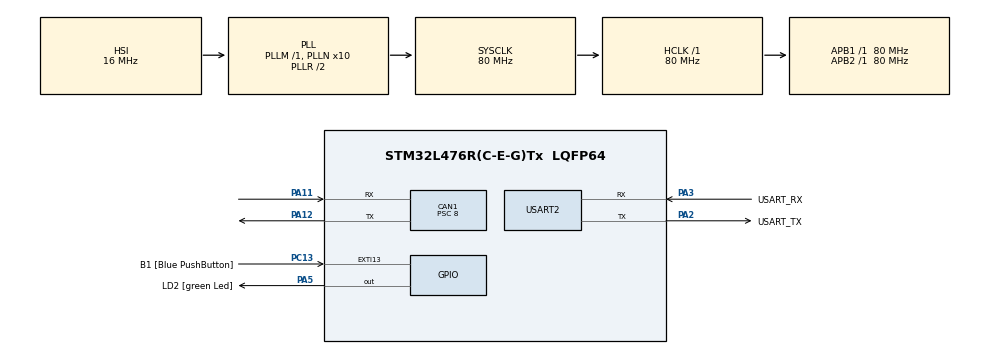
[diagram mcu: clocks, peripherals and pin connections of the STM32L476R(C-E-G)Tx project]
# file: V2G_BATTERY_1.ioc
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CAN1.BS1=CAN_BS1_10TQ
CAN1.CalculateBaudRate=833333
CAN1.CalculateTimeBit=1200
CAN1.CalculateTimeQuantum=100.0
CAN1.Prescaler=8
Mcu.Family=STM32L4
Mcu.Name=STM32L476R(C-E-G)Tx
Mcu.Package=LQFP64
NVIC.CAN1_RX0_IRQn=true\:0\:0\:false\:false\:true\:true\:true\:true
NVIC.CAN1_RX1_IRQn=true\:0\:0\:false\:false\:true\:true\:true\:true
NVIC.CAN1_SCE_IRQn=true\:0\:0\:false\:false\:true\:true\:true\:true
NVIC.CAN1_TX_IRQn=true\:0\:0\:false\:false\:true\:true\:true\:true
NVIC.PriorityGroup=NVIC_PRIORITYGROUP_4
NVIC.USART2_IRQn=true\:0\:0\:false\:false\:true\:true\:true\:true
PA11.Mode=CAN_Activate
PA11.Signal=CAN1_RX
PA12.Mode=CAN_Activate
PA12.Signal=CAN1_TX
PA13\ (JTMS-SWDIO).GPIO_Label=TMS
PA13\ (JTMS-SWDIO).Mode=Serial_Wire
PA13\ (JTMS-SWDIO).Signal=SYS_JTMS-SWDIO
PA14\ (JTCK-SWCLK).GPIO_Label=TCK
PA14\ (JTCK-SWCLK).Mode=Serial_Wire
PA14\ (JTCK-SWCLK).Signal=SYS_JTCK-SWCLK
PA2.GPIO_Label=USART_TX
PA2.GPIO_Mode=GPIO_MODE_AF_PP
PA2.GPIO_PuPd=GPIO_NOPULL
PA2.GPIO_Speed=GPIO_SPEED_FREQ_VERY_HIGH
PA2.Mode=Asynchronous
PA2.Signal=USART2_TX
PA3.GPIO_Label=USART_RX
PA3.GPIO_Mode=GPIO_MODE_AF_PP
PA3.GPIO_PuPd=GPIO_NOPULL
PA3.GPIO_Speed=GPIO_SPEED_FREQ_VERY_HIGH
PA3.Mode=Asynchronous
PA3.Signal=USART2_RX
PA5.GPIO_Label=LD2 [green Led]
PA5.GPIO_ModeDefaultOutputPP=GPIO_MODE_OUTPUT_PP
PA5.GPIO_PuPd=GPIO_NOPULL
PA5.GPIO_Speed=GPIO_SPEED_FREQ_LOW
PA5.Signal=GPIO_Output
PB3\ (JTDO-TRACESWO).GPIO_Label=SWO
PB3\ (JTDO-TRACESWO).Signal=SYS_JTDO-SWO
PC13.GPIO_Label=B1 [Blue PushButton]
PC13.GPIO_ModeDefaultEXTI=GPIO_MODE_IT_FALLING
PC13.GPIO_PuPd=GPIO_NOPULL
PC13.Signal=GPXTI13
PC14-OSC32_IN\ (PC14).Mode=LSE-External-Oscillator
PC14-OSC32_IN\ (PC14).Signal=RCC_OSC32_IN
PC15-OSC32_OUT\ (PC15).Mode=LSE-External-Oscillator
PC15-OSC32_OUT\ (PC15).Signal=RCC_OSC32_OUT
PH0-OSC_IN\ (PH0).Signal=RCC_OSC_IN
PH1-OSC_OUT\ (PH1).Signal=RCC_OSC_OUT
ProjectManager.HeapSize=0x200
ProjectManager.StackSize=0x400
ProjectManager.TargetToolchain=STM32CubeIDE
RCC.ADCFreq_Value=64000000
RCC.AHBFreq_Value=80000000
RCC.APB1Freq_Value=80000000
RCC.APB1TimFreq_Value=80000000
RCC.APB2Freq_Value=80000000
RCC.APB2TimFreq_Value=80000000
RCC.CortexFreq_Value=80000000
RCC.HCLKFreq_Value=80000000
RCC.HSE_VALUE=8000000
RCC.HSI_VALUE=16000000
RCC.MSI_VALUE=4000000
RCC.PLLN=10
RCC.PLLSourceVirtual=RCC_PLLSOURCE_HSI
RCC.PREFETCH_ENABLE=1
RCC.SYSCLKFreq_VALUE=80000000
RCC.SYSCLKSource=RCC_SYSCLKSOURCE_PLLCLK
RCC.USBFreq_Value=64000000
RCC.VCOOutputFreq_Value=160000000
USART2.VirtualMode-Asynchronous=VM_ASYNC
board=NUCLEO-L476RG

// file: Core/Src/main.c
/* USER CODE BEGIN Header */
/**
 ******************************************************************************
 * @file    main.c
 * @brief   Battery MC — CHAdeMO 2.0 V2G
 *          Pont UART (battery sim) ↔ CAN (station MC)
 *
 * Phase 0 : rx UART MSG100 → TX CAN 0x100
 *           rx CAN  0x108  → TX UART MSG108
 *           rx UART MSG101 → TX CAN 0x101
 *           rx CAN  0x109  → TX UART MSG109
 *
 * Phase 1 : rx UART MSG200 → TX CAN 0x200
 *           rx CAN  0x208  → TX UART MSG208
 *
 * Phase 2 : rx UART MSG201 → TX CAN 0x201
 *           rx CAN  0x209  → TX UART MSG209
 *
 * Phase 3 (boucle 100ms) :
 *           rx UART MSG102 → TX CAN 0x102
 *           rx UART MSG200 → TX CAN 0x200
 *           rx CAN  0x109  → TX UART MSG109  (non-bloquant)
 *           rx CAN  0x208  → TX UART MSG208  (non-bloquant)
 *
 * Phase 4 : arrêt propre → TX UART STATE:IDLE → reboucle while(1)
 ******************************************************************************
 */
/* USER CODE END Header */

#include "main.h"
#include "can.h"
#include "usart.h"
#include "gpio.h"
#include <string.h>
#include <stdio.h>
#include <stdlib.h>

/* USER CODE BEGIN PV */
uint16_t battery_voltage_min        = 250;
uint16_t battery_voltage_max        = 400;
uint16_t min_charge_current         = 0;
uint8_t  soc                        = 80;
uint8_t  total_capacity_kwh         = 0;
uint16_t target_charge_voltage      = 400;
uint8_t  max_charge_current         = 0;
uint8_t  max_discharge_current      = 0;
uint16_t min_discharge_voltage      = 300;
uint8_t  min_soc_for_discharging    = 20;
uint8_t  max_soc_for_charging       = 90;
uint8_t  sequence_control_number    = 0x01;
uint8_t  vehicle_charging_enabled   = 1;
uint8_t  normal_stop_request        = 0;
uint8_t  vehicle_status             = 1;
uint8_t  vehicle_shift_position     = 0;
uint8_t  charging_system_error      = 0;
uint8_t  battery_overvoltage        = 0;
uint8_t  battery_undervoltage       = 0;
uint8_t  battery_current_dev_error  = 0;
uint8_t  high_battery_temperature   = 0;
uint8_t  battery_voltage_dev_error  = 0;

uint16_t evse_available_voltage    = 0;
uint8_t  evse_available_current    = 0;
uint16_t evse_threshold_voltage    = 0;
uint8_t  evse_welding_detection    = 0;
uint8_t  evse_discharge_compatible = 0;
uint8_t  evse_stop_control         = 1;
uint8_t  evse_system_error         = 0;
uint16_t evse_present_voltage      = 0;
uint8_t  evse_present_current      = 0;
uint8_t  evse_present_discharge_i  = 0;
uint16_t evse_input_voltage        = 0;
uint8_t  evse_input_current        = 0;
uint16_t evse_lower_threshold_v    = 0;
uint8_t  evse_sequence_number      = 0;

volatile uint8_t flag_msg_108 = 0;
volatile uint8_t flag_msg_109 = 0;
volatile uint8_t flag_msg_208 = 0;
volatile uint8_t flag_msg_209 = 0;
uint8_t rxData_108[8];
uint8_t rxData_109[8];
uint8_t rxData_208[8];
uint8_t rxData_209[8];

uint8_t txbuf[256];
int     Cable_Detected = 0;

/* USER CODE END PV */

void SystemClock_Config(void);

/* USER CODE BEGIN 0 */
#define RX_BUF_SIZE 128

static uint8_t          rx_byte;
static char             rx_buf[RX_BUF_SIZE];
static uint16_t         rx_idx        = 0;
static char             rx_line[RX_BUF_SIZE];
static volatile uint8_t rx_line_ready = 0;

void UART_RX_Start(void)
{
    rx_idx = 0; rx_line_ready = 0;
    HAL_UART_Receive_IT(&huart2, &rx_byte, 1);
}

void HAL_UART_RxCpltCallback(UART_HandleTypeDef *huart)
{
    if (huart->Instance != USART2) return;
    char c = (char)rx_byte;
    if (c == '\n') {
        if (rx_idx > 0 && rx_buf[rx_idx - 1] == '\r') rx_idx--;
        rx_buf[rx_idx] = '\0';
        strncpy(rx_line, rx_buf, RX_BUF_SIZE - 1);
        rx_line[RX_BUF_SIZE - 1] = '\0';
        rx_idx = 0; rx_line_ready = 1;
    } else {
        if (rx_idx < RX_BUF_SIZE - 1) rx_buf[rx_idx++] = c;
    }
    HAL_UART_Receive_IT(&huart2, &rx_byte, 1);
}

void UART_Send(const char *msg)
{
    HAL_UART_Transmit(&huart2, (uint8_t *)msg, strlen(msg), 100);
}

static int get_field(const char *line, int index)
{
    const char *p = strchr(line, ':');
    if (!p) return 0; p++;
    for (int i = 0; i < index; i++) {
        p = strchr(p, ',');
        if (!p) return 0; p++;
    }
    return atoi(p);
}

/**
 * @brief Attend une ligne UART. Ignore les lignes DBG: du firmware.
 */
static void wait_for_line(char *out)
{
    do {
        while (!rx_line_ready) { HAL_Delay(1); }
        __disable_irq();
        strncpy(out, rx_line, RX_BUF_SIZE - 1);
        out[RX_BUF_SIZE - 1] = '\0';
        rx_line_ready = 0;
        __enable_irq();
    } while (strncmp(out, "DBG:", 4) == 0);  /* ignore les messages debug */
}

static void CAN_Send(uint32_t id, uint8_t *data, uint8_t len)
{
    CAN_TxHeaderTypeDef h; uint32_t mb;
    h.StdId = id; h.IDE = CAN_ID_STD; h.RTR = CAN_RTR_DATA; h.DLC = len;
    if (HAL_CAN_AddTxMessage(&hcan1, &h, data, &mb) != HAL_OK)
        UART_Send("STATE:CAN_ERROR\r\n");
}

/* ── TX CAN ────────────────────────────────────────────────────────────────── */

static void send_0x100(void)
{
    uint8_t d[8] = {0};
    d[0] = min_charge_current;
    d[2] = battery_voltage_min & 0xFF; d[3] = battery_voltage_min >> 8;
    d[4] = battery_voltage_max & 0xFF; d[5] = battery_voltage_max >> 8;
    d[6] = 0x64;
    CAN_Send(0x100, d, 8);
}

static void send_0x101(void)
{
    uint8_t d[8] = {0};
    d[1] = 0xFF; d[2] = 30; d[3] = 20;
    d[5] = total_capacity_kwh & 0xFF; d[6] = total_capacity_kwh >> 8;
    CAN_Send(0x101, d, 8);
}

static void send_0x102(void)
{
    uint8_t d[8] = {0};
    d[0] = 0x03;
    d[1] = target_charge_voltage & 0xFF; d[2] = target_charge_voltage >> 8;
    d[3] = max_charge_current;
    d[4] = (battery_voltage_dev_error << 4) | (high_battery_temperature   << 3) |
           (battery_current_dev_error << 2) | (battery_undervoltage       << 1) |
           (battery_overvoltage       << 0);
    d[5] = (normal_stop_request      << 4) | (vehicle_status             << 3) |
           (charging_system_error    << 2) | (vehicle_shift_position     << 1) |
           (vehicle_charging_enabled << 0);
    d[6] = soc;
    CAN_Send(0x102, d, 8);
}

static void send_0x200(void)
{
    uint8_t d[8] = {0};
    d[0] = 0xFF - max_discharge_current;
    d[4] = min_discharge_voltage & 0xFF; d[5] = min_discharge_voltage >> 8;
    d[6] = min_soc_for_discharging;
    d[7] = max_soc_for_charging;
    CAN_Send(0x200, d, 8);
}

static void send_0x201(uint16_t energy, uint16_t dis_t)
{
    uint8_t d[8] = {0};
    d[0] = sequence_control_number;
    d[1] = dis_t & 0xFF; d[2] = dis_t >> 8;
    d[3] = energy & 0xFF; d[4] = energy >> 8;
    CAN_Send(0x201, d, 8);
}

/* ── RX CAN → forward UART ─────────────────────────────────────────────────── */

static void process_0x108(void)
{
    if (!flag_msg_108) return; flag_msg_108 = 0;
    evse_welding_detection = rxData_108[0] & 0x01;
    evse_available_voltage = rxData_108[1] | (rxData_108[2] << 8);
    evse_available_current = rxData_108[3];
    evse_threshold_voltage = rxData_108[4] | (rxData_108[5] << 8);
    sprintf((char *)txbuf, "MSG108:%d,%d,%d,%d\r\n",
            evse_welding_detection, evse_available_voltage,
            evse_available_current, evse_threshold_voltage);
    UART_Send((char *)txbuf);
}

static void process_0x109(void)
{
    if (!flag_msg_109) return; flag_msg_109 = 0;
    evse_present_voltage      = rxData_109[1] | (rxData_109[2] << 8);
    evse_present_current      = rxData_109[3];
    evse_discharge_compatible = rxData_109[4] & 0x01;
    evse_stop_control         = (rxData_109[5] >> 5) & 0x01;
    evse_system_error         = (rxData_109[5] >> 4) & 0x01;
    sprintf((char *)txbuf, "MSG109:%d,%d,%d,%d,%d,%d,%d\r\n",
            rxData_109[0], evse_present_voltage, evse_present_current,
            evse_discharge_compatible, rxData_109[5],
            rxData_109[6], rxData_109[7]);
    UART_Send((char *)txbuf);
}

static void process_0x208(void)
{
    if (!flag_msg_208) return; flag_msg_208 = 0;
    evse_present_discharge_i = rxData_208[0];
    evse_input_voltage       = rxData_208[1] | (rxData_208[2] << 8);
    evse_input_current       = rxData_208[3];
    evse_lower_threshold_v   = rxData_208[6] | (rxData_208[7] << 8);
    sprintf((char *)txbuf, "MSG208:%d,%d,%d,%d\r\n",
            evse_present_discharge_i, evse_input_voltage,
            evse_input_current, evse_lower_threshold_v);
    UART_Send((char *)txbuf);
}

static void process_0x209(void)
{
    if (!flag_msg_209) return; flag_msg_209 = 0;
    evse_sequence_number = rxData_209[0];
    uint16_t rem = rxData_209[1] | (rxData_209[2] << 8);
    sprintf((char *)txbuf, "MSG209:%d,%d\r\n", evse_sequence_number, rem);
    UART_Send((char *)txbuf);
}

/* USER CODE END 0 */

/* ── main ──────────────────────────────────────────────────────────────────── */

int main(void)
{
    HAL_Init();
    SystemClock_Config();
    MX_GPIO_Init();
    MX_USART2_UART_Init();
    MX_CAN1_Init();

    CAN_Filter_Config();
    HAL_CAN_Start(&hcan1);
    HAL_CAN_ActivateNotification(&hcan1, CAN_IT_RX_FIFO0_MSG_PENDING);
    UART_RX_Start();

    char line[RX_BUF_SIZE];

    while (1)
    {
        normal_stop_request      = 0;
        vehicle_charging_enabled = 1;
        evse_stop_control        = 1;

        /* ── Phase 0 — Handshake ─────────────────────────────────────────── */
        UART_Send("STATE:HANDSHAKE\r\n");

        /* 1. Attente MSG100 UART → TX CAN 0x100 */
        wait_for_line(line);
        if (strncmp(line, "MSG100:", 7) == 0) {
            min_charge_current  = get_field(line, 0);
            battery_voltage_min = get_field(line, 1);
            battery_voltage_max = get_field(line, 2);
            send_0x100();
        }

        /* 2. Attente CAN 0x108 → TX UART MSG108
              battery sim attend MSG108 avant d'envoyer MSG101 */
        while (!flag_msg_108) { HAL_Delay(1); }
        process_0x108();

        /* 3. Attente MSG101 UART → TX CAN 0x101
              battery sim envoie MSG101 automatiquement après MSG108 */
        wait_for_line(line);
        if (strncmp(line, "MSG101:", 7) == 0) {
            total_capacity_kwh = get_field(line, 3);
            send_0x101();
        }

        /* 4. Attente CAN 0x109 → TX UART MSG109
              station sim envoie MSG109 automatiquement après MSG101 */
        while (!flag_msg_109) { HAL_Delay(1); }
        process_0x109();

        if (!evse_discharge_compatible) {
            UART_Send("STATE:CHARGE_ONLY\r\n");
            goto charge_loop;
        }

        /* ── Phase 1 — Négociation V2G ───────────────────────────────────── */
        UART_Send("STATE:V2G_NEGOTIATE\r\n");

        /* 5. Attente MSG200 UART → TX CAN 0x200 */
        wait_for_line(line);
        if (strncmp(line, "MSG200:", 7) == 0) {
            max_discharge_current   = get_field(line, 0);
            min_discharge_voltage   = get_field(line, 1);
            min_soc_for_discharging = get_field(line, 2);
            max_soc_for_charging    = get_field(line, 3);
            send_0x200();
        }

        /* 6. Attente CAN 0x208 → TX UART MSG208 */
        while (!flag_msg_208) { HAL_Delay(1); }
        process_0x208();

        /* ── Phase 2 — Accord séquence ───────────────────────────────────── */
        UART_Send("STATE:V2G_SEQUENCE\r\n");

        /* 7. Attente MSG201 UART → TX CAN 0x201 */
        wait_for_line(line);
        if (strncmp(line, "MSG201:", 7) == 0) {
            sequence_control_number = get_field(line, 0);
            uint16_t dis_t          = get_field(line, 1);
            uint16_t energy         = get_field(line, 2);
            send_0x201(energy, dis_t);
        }

        /* 8. Attente CAN 0x209 → TX UART MSG209 */
        while (!flag_msg_209) { HAL_Delay(1); }
        process_0x209();

        if (evse_sequence_number != sequence_control_number) {
            UART_Send("STATE:SEQ_MISMATCH\r\n");
            continue;
        }

        /* ── Phase 3 — Boucle décharge V2G (100ms) ──────────────────────── */
        evse_stop_control = 0;
        evse_system_error = 0;
        flag_msg_109      = 0;
        flag_msg_208      = 0;
        UART_Send("STATE:DISCHARGING\r\n");

        do {
            /* 9a. Attente MSG102 UART → TX CAN 0x102 */
            wait_for_line(line);
            if (strncmp(line, "MSG102:", 7) == 0) {
                target_charge_voltage    = get_field(line, 0);
                max_charge_current       = get_field(line, 1);
                soc                      = get_field(line, 2);
                vehicle_charging_enabled = get_field(line, 3);
                normal_stop_request      = get_field(line, 4);
                send_0x102();
            }

            /* 9b. Attente MSG200 UART → TX CAN 0x200
                  (battery sim envoie MSG200 juste après MSG102) */
            wait_for_line(line);
            if (strncmp(line, "MSG200:", 7) == 0) {
                max_discharge_current = get_field(line, 0);
                send_0x200();
            }

            /* 9c. Traitement CAN 0x109 → TX UART MSG109 (non-bloquant)
                  Le station sim répond dès que Phase 3 est active.
                  On ne bloque pas ici pour ne pas bloquer la boucle. */
            if (flag_msg_109) {
                process_0x109();
            }

            /* 9d. Traitement CAN 0x208 → TX UART MSG208 (non-bloquant) */
            if (flag_msg_208) {
                process_0x208();
            }

            /* Conditions d'arrêt */
            if (soc <= min_soc_for_discharging) {
                UART_Send("STATE:SOC_MIN\r\n");
                normal_stop_request      = 1;
                vehicle_charging_enabled = 0;
            }
            if (evse_stop_control || evse_system_error) {
                UART_Send("STATE:EVSE_STOP\r\n");
                break;
            }

        } while (!normal_stop_request && vehicle_charging_enabled);

        /* ── Phase 4 — Arrêt propre ──────────────────────────────────────── */
        UART_Send("STATE:STOPPING\r\n");
        normal_stop_request      = 1;
        vehicle_charging_enabled = 0;
        vehicle_status           = 1;
        send_0x102();          /* stop_request=1, charging_enabled=0 */
        max_discharge_current = 0;
        send_0x200();          /* courant décharge = 0 */
        HAL_Delay(500);
        UART_Send("STATE:IDLE\r\n");
        continue;

charge_loop:
        /* Mode charge simple (EVSE non V2G compatible) */
        do {
            wait_for_line(line);
            if (strncmp(line, "MSG102:", 7) == 0) {
                target_charge_voltage    = get_field(line, 0);
                max_charge_current       = get_field(line, 1);
                soc                      = get_field(line, 2);
                vehicle_charging_enabled = get_field(line, 3);
                normal_stop_request      = get_field(line, 4);
                send_0x102();
                while (!flag_msg_109) { HAL_Delay(1); }
                process_0x109();
            }
        } while (!normal_stop_request);
    }
}

void SystemClock_Config(void)
{
  RCC_OscInitTypeDef RCC_OscInitStruct = {0};
  RCC_ClkInitTypeDef RCC_ClkInitStruct = {0};

  /** Configure the main internal regulator output voltage
  */
  if (HAL_PWREx_ControlVoltageScaling(PWR_REGULATOR_VOLTAGE_SCALE1) != HAL_OK)
  {
    Error_Handler();
  }

  /** Initializes the RCC Oscillators according to the specified parameters
  * in the RCC_OscInitTypeDef structure.
  */
  RCC_OscInitStruct.OscillatorType = RCC_OSCILLATORTYPE_HSI;
  RCC_OscInitStruct.HSIState = RCC_HSI_ON;
  RCC_OscInitStruct.HSICalibrationValue = RCC_HSICALIBRATION_DEFAULT;
  RCC_OscInitStruct.PLL.PLLState = RCC_PLL_ON;
  RCC_OscInitStruct.PLL.PLLSource = RCC_PLLSOURCE_HSI;
  RCC_OscInitStruct.PLL.PLLM = 1;
  RCC_OscInitStruct.PLL.PLLN = 10;
  RCC_OscInitStruct.PLL.PLLP = RCC_PLLP_DIV7;
  RCC_OscInitStruct.PLL.PLLQ = RCC_PLLQ_DIV2;
  RCC_OscInitStruct.PLL.PLLR = RCC_PLLR_DIV2;
  if (HAL_RCC_OscConfig(&RCC_OscInitStruct) != HAL_OK)
  {
    Error_Handler();
  }

  /** Initializes the CPU, AHB and APB buses clocks
  */
  RCC_ClkInitStruct.ClockType = RCC_CLOCKTYPE_HCLK|RCC_CLOCKTYPE_SYSCLK
                              |RCC_CLOCKTYPE_PCLK1|RCC_CLOCKTYPE_PCLK2;
  RCC_ClkInitStruct.SYSCLKSource = RCC_SYSCLKSOURCE_PLLCLK;
  RCC_ClkInitStruct.AHBCLKDivider = RCC_SYSCLK_DIV1;
  RCC_ClkInitStruct.APB1CLKDivider = RCC_HCLK_DIV1;
  RCC_ClkInitStruct.APB2CLKDivider = RCC_HCLK_DIV1;

  if (HAL_RCC_ClockConfig(&RCC_ClkInitStruct, FLASH_LATENCY_4) != HAL_OK)
  {
    Error_Handler();
  }
}

/* USER CODE BEGIN 4 */
void CAN_Filter_Config(void)
{
    CAN_FilterTypeDef f;
    f.FilterActivation     = ENABLE;
    f.FilterBank           = 0;
    f.FilterFIFOAssignment = CAN_FILTER_FIFO0;
    f.FilterMode           = CAN_FILTERMODE_IDMASK;
    f.FilterScale          = CAN_FILTERSCALE_32BIT;
    f.FilterIdHigh = f.FilterIdLow = 0x0000;
    f.FilterMaskIdHigh = f.FilterMaskIdLow = 0x0000;
    HAL_CAN_ConfigFilter(&hcan1, &f);
}

void HAL_GPIO_EXTI_Callback(uint16_t GPIO_Pin)
{
    Cable_Detected      = 1;
    normal_stop_request = 1;
}

void HAL_CAN_RxFifo0MsgPendingCallback(CAN_HandleTypeDef *hcan)
{
    CAN_RxHeaderTypeDef rxh;
    uint8_t tmp[8];
    if (HAL_CAN_GetRxMessage(hcan, CAN_RX_FIFO0, &rxh, tmp) != HAL_OK) return;
    switch (rxh.StdId) {
        case 0x108: memcpy(rxData_108, tmp, 8); flag_msg_108 = 1; break;
        case 0x109: memcpy(rxData_109, tmp, 8); flag_msg_109 = 1; break;
        case 0x208: memcpy(rxData_208, tmp, 8); flag_msg_208 = 1; break;
        case 0x209: memcpy(rxData_209, tmp, 8); flag_msg_209 = 1; break;
        case 0x7FF:
            UART_Send("RESET\r\n");
            HAL_Delay(10);
            HAL_NVIC_SystemReset();
            break;
    }
}

/* USER CODE END 4 */

void Error_Handler(void)
{
  __disable_irq();
  while (1)
  {
  }
}
